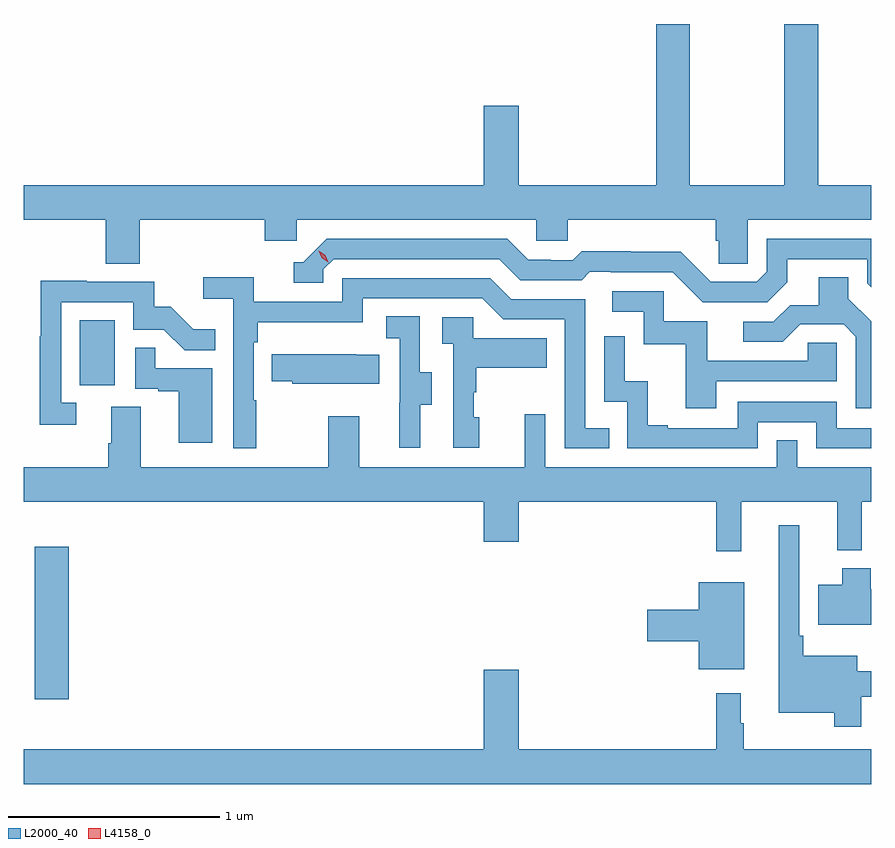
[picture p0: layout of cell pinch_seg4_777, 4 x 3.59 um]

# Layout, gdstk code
import gdstk
lib = gdstk.Library(unit=1e-6, precision=1e-09)
def R(c, l, rs):  # rectangles x0, y0, x1, y1
    for r in rs: c.add(gdstk.rectangle(r[:2], r[2:], *l))
def P(c, l, *ps):  # polygons
    for p in ps: c.add(gdstk.Polygon(p, *l))
L2000_40 = (2000, 40)
L4158_0 = (4158, 0)

pinch_seg4_777 = lib.new_cell('pinch_seg4_777')
R(pinch_seg4_777, L2000_40, [(810.239,829.188,810.4,829.909), (810.452,830.67,810.616,830.977)])
P(pinch_seg4_777, L2000_40, [(810.734,831.452),(811.325,831.452),(811.325,831.354),(811.476,831.354),(811.476,831.452),(812.607,831.452),(812.607,831.354),(812.757,831.354),(812.757,831.452),(813.455,831.452),(813.455,831.354),(813.469,831.354),(813.469,831.244),(813.606,831.244),(813.606,831.452),(814.188,831.452),(814.188,831.616),(813.938,831.616),(813.938,832.377),(813.778,832.377),(813.778,831.616),(813.333,831.616),(813.333,832.377),(813.173,832.377),(813.173,831.616),(812.524,831.616),(812.524,831.991),(812.36,831.991),(812.36,831.616),(810.188,831.616),(810.188,831.452),(810.574,831.452),(810.574,831.244),(810.734,831.244)],
  [(813.793,831.157),(813.793,831.267),(814.17,831.267),(814.17,831.153),(814.188,831.135),(814.188,831.363),(813.696,831.363),(813.696,831.207),(813.648,831.159),(813.432,831.159),(813.29,831.301),(813.054,831.301),(813.054,831.304),(812.821,831.304),(812.779,831.261),(812.676,831.261),(812.676,831.264),(812.569,831.264),(812.47,831.363),(811.617,831.363),(811.506,831.252),(811.463,831.252),(811.463,831.156),(811.602,831.156),(811.602,831.219),(811.65,831.267),(812.433,831.267),(812.532,831.168),(812.821,831.168),(812.86,831.207),(812.959,831.207),(812.959,831.204),(813.252,831.204),(813.393,831.063),(813.699,831.063)],
  [(814.188,830.973),(814.081,831.08),(814.081,831.182),(813.941,831.182),(813.941,831.05),(813.806,831.05),(813.726,830.97),(813.585,830.97),(813.585,830.877),(813.772,830.877),(813.853,830.958),(814.059,830.958),(814.116,830.901),(814.116,830.562),(814.188,830.562)],
  [(811.285,830.6),(811.272,830.6),(811.272,830.873),(811.292,830.873),(811.292,830.969),(811.788,830.969),(811.788,831.081),(812.352,831.081),(812.451,830.982),(812.742,830.982),(812.742,830.373),(812.951,830.373),(812.951,830.469),(812.838,830.469),(812.838,831.078),(812.488,831.078),(812.389,831.177),(811.692,831.177),(811.692,831.066),(811.274,831.066),(811.274,831.182),(811.035,831.182),(811.035,831.08),(811.176,831.08),(811.176,830.373),(811.285,830.373)],
  [(810.436,830.589),(810.363,830.589),(810.363,831.063),(810.705,831.063),(810.705,830.934),(810.849,830.934),(810.947,830.836),(811.091,830.836),(811.091,830.935),(810.987,830.935),(810.88,831.042),(810.804,831.042),(810.804,831.159),(810.485,831.159),(810.485,831.164),(810.267,831.164),(810.267,830.903),(810.262,830.903),(810.262,830.484),(810.436,830.484)],
  [(813.457,830.691),(814.026,830.691),(814.026,830.871),(813.889,830.871),(813.889,830.787),(813.415,830.787),(813.415,830.973),(813.21,830.973),(813.21,831.114),(812.967,831.114),(812.967,831.018),(813.114,831.018),(813.114,830.865),(813.313,830.865),(813.313,830.562),(813.457,830.562)],
  [(812.059,830.578),(812.113,830.578),(812.113,830.733),(812.058,830.733),(812.058,830.996),(811.899,830.996),(811.899,830.893),(811.962,830.893),(811.962,830.589),(811.961,830.589),(811.961,830.376),(812.059,830.376)],
  [(812.338,830.52),(812.313,830.52),(812.313,830.639),(812.323,830.639),(812.323,830.753),(812.657,830.753),(812.657,830.893),(812.31,830.893),(812.31,830.991),(812.163,830.991),(812.163,830.867),(812.214,830.867),(812.214,830.376),(812.338,830.376)],
  [(813.654,830.496),(813.93,830.496),(813.93,830.373),(814.188,830.373),(814.188,830.469),(814.026,830.469),(814.026,830.592),(813.558,830.592),(813.558,830.469),(813.229,830.469),(813.229,830.482),(813.134,830.482),(813.134,830.69),(813.024,830.69),(813.024,830.902),(812.928,830.902),(812.928,830.592),(813.036,830.592),(813.036,830.373),(813.654,830.373)],
  [(811.078,830.751),(810.809,830.751),(810.809,830.849),(810.714,830.849),(810.714,830.655),(810.821,830.655),(810.821,830.643),(810.92,830.643),(810.92,830.4),(811.078,830.4)],
  [(811.865,830.815),(811.757,830.815),(811.757,830.818),(811.357,830.818),(811.357,830.689),(811.455,830.689),(811.455,830.678),(811.865,830.678)],
  [(813.84,830.411),(813.744,830.411),(813.744,830.284),(812.649,830.284),(812.649,830.533),(812.552,830.533),(812.552,830.284),(811.771,830.284),(811.771,830.524),(811.624,830.524),(811.624,830.284),(810.739,830.284),(810.739,830.57),(810.599,830.57),(810.599,830.396),(810.587,830.396),(810.587,830.284),(810.188,830.284),(810.188,830.12),(812.36,830.12),(812.36,829.932),(812.524,829.932),(812.524,830.12),(813.457,830.12),(813.457,829.887),(813.575,829.887),(813.575,830.12),(814.028,830.12),(814.028,829.892),(814.145,829.892),(814.145,830.12),(814.188,830.12),(814.188,830.284),(813.84,830.284)],
  [(814.142,829.199),(814.188,829.199),(814.188,829.321),(814.123,829.321),(814.123,829.393),(813.869,829.393),(813.869,829.489),(813.849,829.489),(813.849,830.011),(813.752,830.011),(813.752,829.124),(814.014,829.124),(814.014,829.059),(814.142,829.059)],
  [(814.188,829.707),(814.187,829.707),(814.187,829.807),(814.052,829.807),(814.052,829.729),(813.938,829.729),(813.938,829.541),(814.188,829.541)],
  [(813.589,829.741),(813.374,829.741),(813.374,829.61),(813.132,829.61),(813.132,829.463),(813.374,829.463),(813.374,829.331),(813.589,829.331)],
  [(814.188,828.952),(813.586,828.952),(813.586,829.076),(813.574,829.076),(813.574,829.216),(813.457,829.216),(813.457,828.952),(812.524,828.952),(812.524,829.327),(812.36,829.327),(812.36,828.952),(810.188,828.952),(810.188,828.788),(814.188,828.788)])
P(pinch_seg4_777, L4158_0, [(811.626,831.253),(811.595,831.273),(811.58,831.306),(811.58,831.306),(811.58,831.306),(811.61,831.286),(811.626,831.253),(811.626,831.253)])

lib.write_gds('pinch_seg4_777.gds')
